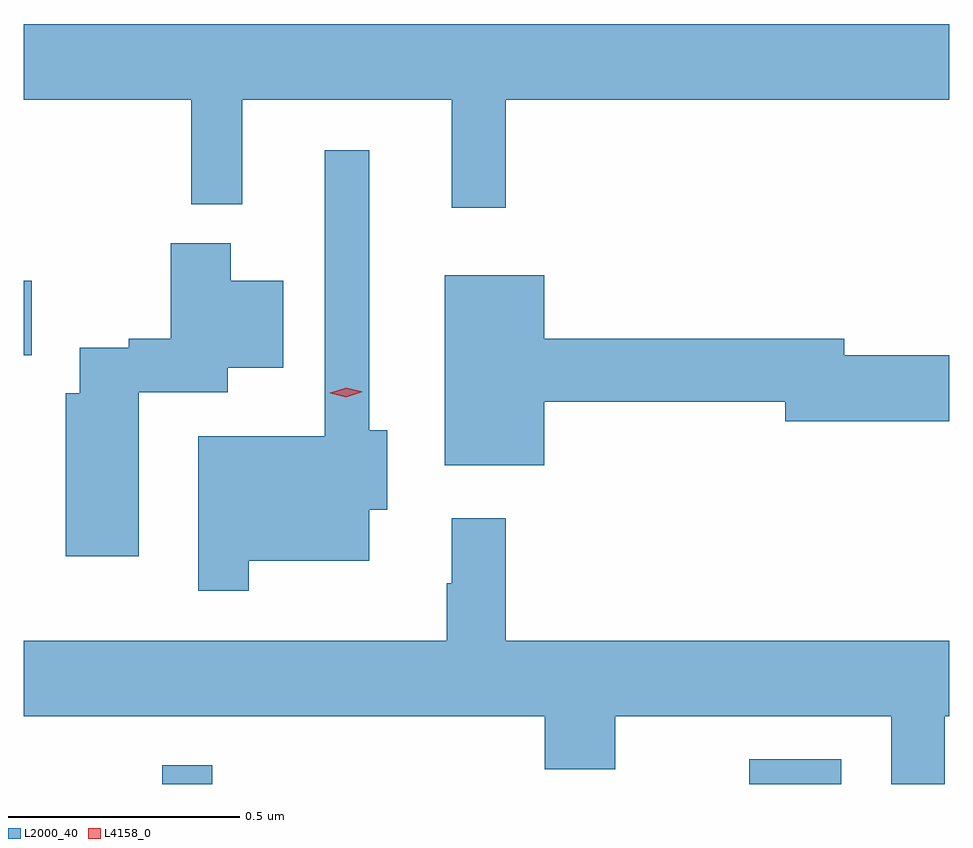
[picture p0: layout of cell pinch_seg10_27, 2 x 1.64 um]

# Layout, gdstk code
import gdstk
lib = gdstk.Library(unit=1e-6, precision=1e-09)
def R(c, l, rs):  # rectangles x0, y0, x1, y1
    for r in rs: c.add(gdstk.rectangle(r[:2], r[2:], *l))
def P(c, l, *ps):  # polygons
    for p in ps: c.add(gdstk.Polygon(p, *l))
L2000_40 = (2000, 40)
L4158_0 = (4158, 0)

pinch_seg10_27 = lib.new_cell('pinch_seg10_27')
R(pinch_seg10_27, L2000_40, [(941.886,1284.186,941.994,1284.226), (943.155,1284.186,943.353,1284.24), (941.587,1285.112,941.605,1285.273)])
P(pinch_seg10_27, L2000_40, [(942.629,1285.664),(943.587,1285.664),(943.587,1285.828),(941.587,1285.828),(941.587,1285.664),(941.949,1285.664),(941.949,1285.439),(942.059,1285.439),(942.059,1285.664),(942.512,1285.664),(942.512,1285.431),(942.629,1285.431)],
  [(942.073,1284.668),(942.334,1284.668),(942.334,1284.779),(942.373,1284.779),(942.373,1284.95),(942.334,1284.95),(942.334,1285.555),(942.237,1285.555),(942.237,1284.937),(941.964,1284.937),(941.964,1284.603),(942.073,1284.603)],
  [(941.836,1285.032),(942.028,1285.032),(942.028,1285.085),(942.148,1285.085),(942.148,1285.273),(942.034,1285.273),(942.034,1285.354),(941.905,1285.354),(941.905,1285.148),(941.814,1285.148),(941.814,1285.128),(941.708,1285.128),(941.708,1285.03),(941.678,1285.03),(941.678,1284.678),(941.836,1284.678)],
  [(942.712,1285.012),(943.232,1285.012),(943.232,1284.97),(943.587,1284.97),(943.587,1285.112),(943.36,1285.112),(943.36,1285.148),(942.712,1285.148),(942.712,1285.285),(942.497,1285.285),(942.497,1284.875),(942.712,1284.875)],
  [(943.577,1284.332),(943.587,1284.332),(943.587,1284.496),(942.629,1284.496),(942.629,1284.76),(942.512,1284.76),(942.512,1284.62),(942.501,1284.62),(942.501,1284.496),(941.587,1284.496),(941.587,1284.332),(942.713,1284.332),(942.713,1284.218),(942.865,1284.218),(942.865,1284.332),(943.461,1284.332),(943.461,1284.186),(943.577,1284.186)])
P(pinch_seg10_27, L4158_0, [(942.284,1285.022),(942.249,1285.03),(942.248,1285.031),(942.249,1285.031),(942.284,1285.042),(942.32,1285.034),(942.32,1285.033),(942.32,1285.033)])

lib.write_gds('pinch_seg10_27.gds')
